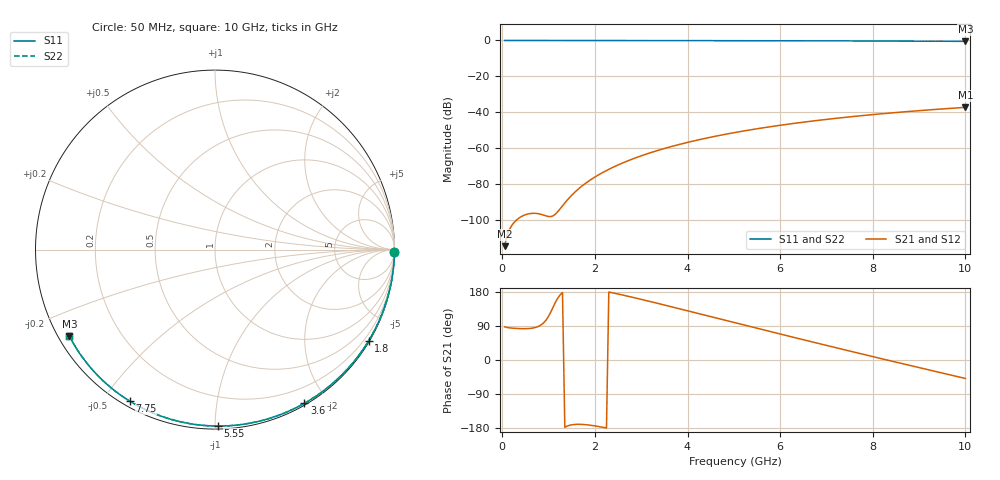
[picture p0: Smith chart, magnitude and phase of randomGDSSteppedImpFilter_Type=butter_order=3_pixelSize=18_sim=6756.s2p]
! freq	dB(S11)	phase(S11)	dB(S12)	phase(S12)
!  dB(S21)	phase(S21)	dB(S22)	phase(S22)
!S-par simulation data
#  GHz  S  DB  R 50
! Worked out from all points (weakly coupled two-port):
!   200 points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, 50 MHz to 10 GHz, reference 50 ohm
!   highest |S21| = -37.18 dB at 10 GHz (marker M1); lowest = -114.3 dB at 50 MHz (marker M2)
!   lowest |S11| = -0.5 dB at 10 GHz (marker M3), VSWR 34.52, Z = 1.56 - j13.7 ohm
!   |S11| at or under -10 dB: nowhere
!   |S22| runs from -0.5 to 0.0 dB; largest |S21 - S12| = 0
!   S11 on the Smith chart (normalised r, x): 50 MHz: open; 1.8 GHz: 0.03, -3.65; 3.6 GHz: 0.02, -1.74; 5.55 GHz: 0.02, -1.02; 7.75 GHz: 0.02, -0.58; 10 GHz: 0.03, -0.27
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0.05  -0.00 -0.9  -114.30 87.6  -114.30 87.6  -0.00 -0.9
0.45  -0.01 -7.8  -97.35 82.6  -97.35 82.6  -0.01 -7.8
0.9  -0.02 -15.5  -97.10 98.9  -97.10 98.9  -0.02 -15.5
1.3  -0.03 -22.3  -91.87 178.1  -91.87 178.1  -0.03 -22.3
1.75  -0.04 -29.8  -80.30 -170.2  -80.30 -170.2  -0.04 -29.8
1.8  -0.04 -30.7  -79.33 -170.7  -79.33 -170.7  -0.04 -30.7
1.95  -0.04 -33.2  -76.69 -172.9  -76.69 -172.9  -0.04 -33.2
2.1  -0.05 -35.6  -74.36 -175.9  -74.36 -175.9  -0.05 -35.6
2.3  -0.05 -38.9  -71.61 179.4  -71.61 179.4  -0.05 -38.9
2.5  -0.05 -42.2  -69.17 174.2  -69.17 174.2  -0.05 -42.2
2.9  -0.06 -48.7  -65.02 162.9  -65.02 162.9  -0.06 -48.7
3.4  -0.08 -56.6  -60.77 148.1  -60.77 148.1  -0.08 -56.6
3.6  -0.08 -59.8  -59.30 142.1  -59.30 142.1  -0.08 -59.8
4.3  -0.10 -70.6  -54.85 120.6  -54.85 120.6  -0.10 -70.6
5.05  -0.13 -81.7  -51.02 97.6  -51.02 97.6  -0.13 -81.7
5.55  -0.15 -89.0  -48.86 82.3  -48.86 82.3  -0.15 -89.0
6.1  -0.17 -96.8  -46.77 65.6  -46.77 65.6  -0.17 -96.8
6.7  -0.20 -105.2  -44.76 47.5  -44.76 47.5  -0.20 -105.2
7.75  -0.28 -119.4  -41.81 16.3  -41.81 16.3  -0.28 -119.4
8.35  -0.33 -127.4  -40.37 -1.3  -40.37 -1.3  -0.33 -127.4
9.2  -0.41 -138.6  -38.60 -25.8  -38.60 -25.8  -0.41 -138.6
10  -0.50 -149.2  -37.18 -48.7  -37.18 -48.7  -0.50 -149.2
